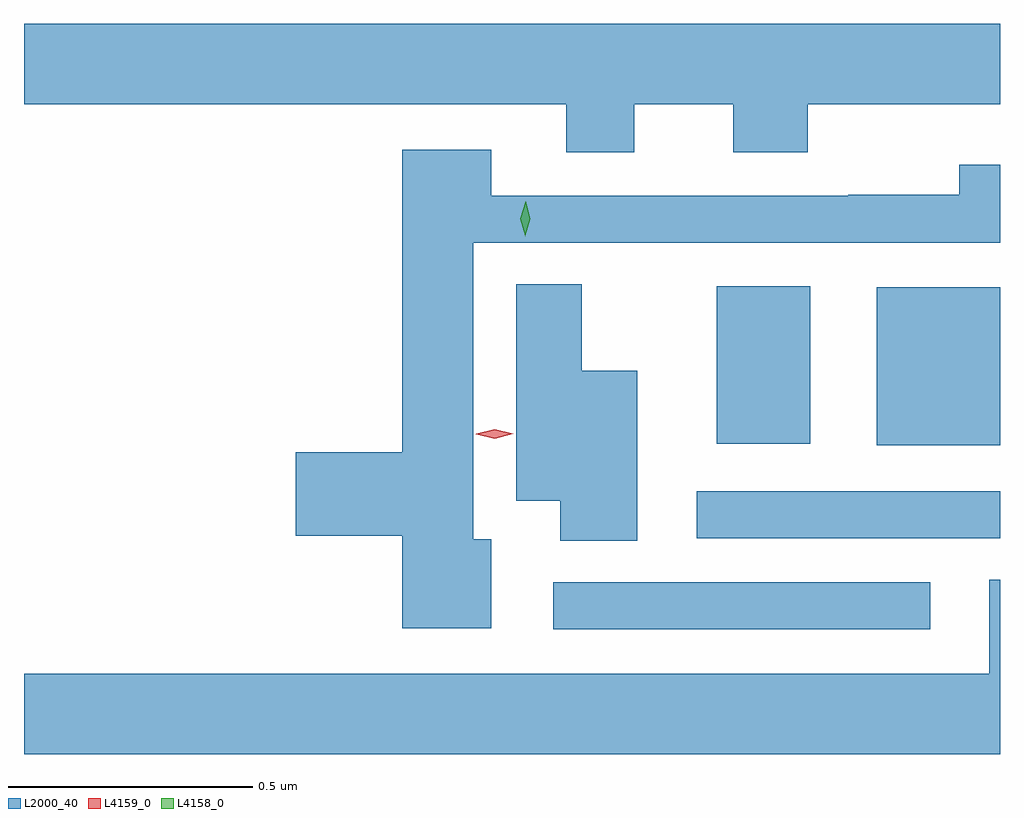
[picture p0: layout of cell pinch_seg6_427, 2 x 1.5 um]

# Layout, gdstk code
import gdstk
lib = gdstk.Library(unit=1e-6, precision=1e-09)
def R(c, l, rs):  # rectangles x0, y0, x1, y1
    for r in rs: c.add(gdstk.rectangle(r[:2], r[2:], *l))
def P(c, l, *ps):  # polygons
    for p in ps: c.add(gdstk.Polygon(p, *l))
L2000_40 = (2000, 40)
L4158_0 = (4158, 0)
L4159_0 = (4159, 0)

pinch_seg6_427 = lib.new_cell('pinch_seg6_427')
R(pinch_seg6_427, L2000_40, [(654.06,920.952,654.832,921.048), (654.354,921.138,654.975,921.234), (654.722,921.329,654.975,921.652), (654.395,921.332,654.586,921.655)])
P(pinch_seg6_427, L2000_40, [(654.226,922.028),(654.428,922.028),(654.428,921.929),(654.581,921.929),(654.581,922.028),(654.975,922.028),(654.975,922.192),(652.975,922.192),(652.975,922.028),(654.086,922.028),(654.086,921.929),(654.226,921.929)],
  [(653.932,921.136),(653.896,921.136),(653.896,921.744),(654.975,921.744),(654.975,921.904),(654.892,921.904),(654.892,921.842),(654.664,921.842),(654.664,921.84),(653.932,921.84),(653.932,921.934),(653.75,921.934),(653.75,921.314),(653.532,921.314),(653.532,921.143),(653.75,921.143),(653.75,920.954),(653.932,920.954)],
  [(654.232,921.481),(654.118,921.481),(654.118,921.659),(653.984,921.659),(653.984,921.215),(654.074,921.215),(654.074,921.133),(654.232,921.133)],
  [(654.975,921.053),(654.953,921.053),(654.953,920.86),(652.975,920.86),(652.975,920.696),(654.975,920.696)])
P(pinch_seg6_427, L4158_0, [(654.002,921.757),(654.002,921.758),(653.992,921.793),(654.003,921.829),(654.003,921.829),(654.003,921.829),(654.012,921.793),(654.002,921.758)])
P(pinch_seg6_427, L4159_0, [(653.94,921.342),(653.902,921.351),(653.901,921.351),(653.902,921.352),(653.94,921.362),(653.978,921.352),(653.978,921.352),(653.978,921.352)])

lib.write_gds('pinch_seg6_427.gds')
